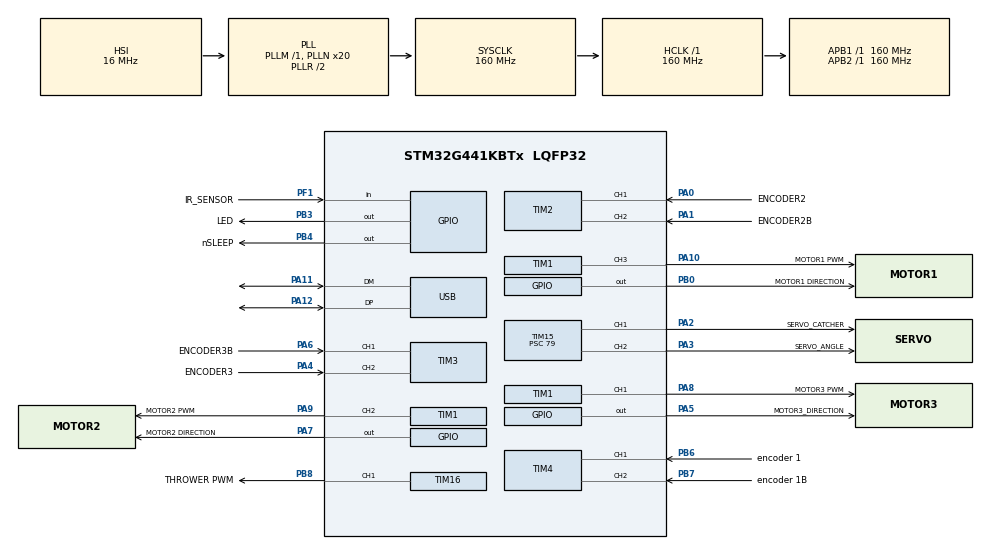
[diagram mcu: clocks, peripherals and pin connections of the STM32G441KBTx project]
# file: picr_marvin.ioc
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Mcu.Family=STM32G4
Mcu.Name=STM32G441KBTx
Mcu.Package=LQFP32
NVIC.PriorityGroup=NVIC_PRIORITYGROUP_4
NVIC.TIM7_IRQn=true\:0\:0\:false\:false\:true\:true\:true\:true
NVIC.USB_LP_IRQn=true\:0\:0\:false\:false\:true\:false\:true\:true
PA0.GPIO_Label=ENCODER2
PA0.GPIO_ModeDefaultPP=GPIO_MODE_AF_PP
PA0.GPIO_PuPd=GPIO_NOPULL
PA0.GPIO_Speed=GPIO_SPEED_FREQ_LOW
PA0.Signal=S_TIM2_CH1
PA1.GPIO_Label=ENCODER2B
PA1.GPIO_ModeDefaultPP=GPIO_MODE_AF_PP
PA1.GPIO_PuPd=GPIO_NOPULL
PA1.GPIO_Speed=GPIO_SPEED_FREQ_LOW
PA1.Signal=S_TIM2_CH2
PA10.GPIO_Label=MOTOR1 PWM
PA10.Signal=S_TIM1_CH3
PA11.Mode=Device
PA11.Signal=USB_DM
PA12.Mode=Device
PA12.Signal=USB_DP
PA13.Mode=Serial_Wire
PA13.Signal=SYS_JTMS-SWDIO
PA14.Mode=Serial_Wire
PA14.Signal=SYS_JTCK-SWCLK
PA2.GPIO_Label=SERVO_CATCHER
PA2.Signal=S_TIM15_CH1
PA3.GPIO_Label=SERVO_ANGLE
PA3.Signal=S_TIM15_CH2
PA4.GPIO_Label=ENCODER3
PA4.Signal=S_TIM3_CH2
PA5.GPIO_Label=MOTOR3_DIRECTION
PA5.Signal=GPIO_Output
PA6.GPIO_Label=ENCODER3B
PA6.Signal=S_TIM3_CH1
PA7.GPIO_Label=MOTOR2 DIRECTION
PA7.Signal=GPIO_Output
PA8.GPIO_Label=MOTOR3 PWM
PA8.Signal=S_TIM1_CH1
PA9.GPIO_Label=MOTOR2 PWM
PA9.Signal=S_TIM1_CH2
PB0.GPIO_Label=MOTOR1 DIRECTION
PB0.Signal=GPIO_Output
PB3.GPIO_Label=LED
PB3.Signal=GPIO_Output
PB4.GPIO_Label=nSLEEP
PB4.Signal=GPIO_Output
PB6.GPIO_Label=encoder 1
PB6.Signal=S_TIM4_CH1
PB7.GPIO_Label=encoder 1B
PB7.Signal=S_TIM4_CH2
PB8-BOOT0.GPIO_Label=THROWER PWM
PB8-BOOT0.Signal=S_TIM16_CH1
PF1-OSC_OUT.GPIO_Label=IR_SENSOR
PF1-OSC_OUT.Signal=GPIO_Input
ProjectManager.HeapSize=0x200
ProjectManager.StackSize=0x400
ProjectManager.TargetToolchain=STM32CubeIDE
RCC.ADC12Freq_Value=160000000
RCC.AHBFreq_Value=160000000
RCC.APB1Freq_Value=160000000
RCC.APB1TimFreq_Value=160000000
RCC.APB2Freq_Value=160000000
RCC.APB2TimFreq_Value=160000000
RCC.CK48CLockSelection=RCC_USBCLKSOURCE_HSI48
RCC.CortexFreq_Value=160000000
RCC.EXTERNAL_CLOCK_VALUE=12288000
RCC.HCLKFreq_Value=160000000
RCC.HSE_VALUE=8000000
RCC.HSI48_VALUE=48000000
RCC.HSI_VALUE=16000000
RCC.LSE_VALUE=32768
RCC.PLLN=20
RCC.PLLQ=RCC_PLLQ_DIV4
RCC.SYSCLKFreq_VALUE=160000000
RCC.SYSCLKSource=RCC_SYSCLKSOURCE_PLLCLK
RCC.USBFreq_Value=48000000
RCC.VCOOutputFreq_Value=320000000
SH.S_TIM15_CH1.0=TIM15_CH1,PWM Generation1 CH1
SH.S_TIM15_CH2.0=TIM15_CH2,PWM Generation2 CH2
SH.S_TIM16_CH1.0=TIM16_CH1,PWM Generation1 CH1
SH.S_TIM1_CH1.0=TIM1_CH1,PWM Generation1 CH1
SH.S_TIM1_CH2.0=TIM1_CH2,PWM Generation2 CH2
SH.S_TIM1_CH3.0=TIM1_CH3,PWM Generation3 CH3
SH.S_TIM2_CH1.0=TIM2_CH1,Encoder_Interface
SH.S_TIM2_CH2.0=TIM2_CH2,Encoder_Interface
SH.S_TIM3_CH1.0=TIM3_CH1,Encoder_Interface
SH.S_TIM3_CH2.0=TIM3_CH2,Encoder_Interface
SH.S_TIM4_CH1.0=TIM4_CH1,Encoder_Interface
SH.S_TIM4_CH2.0=TIM4_CH2,Encoder_Interface
TIM1.Channel-PWM\ Generation1\ CH1=TIM_CHANNEL_1
TIM1.Channel-PWM\ Generation2\ CH2=TIM_CHANNEL_2
TIM1.Channel-PWM\ Generation3\ CH3=TIM_CHANNEL_3
TIM15.Channel-PWM\ Generation1\ CH1=TIM_CHANNEL_1
TIM15.Channel-PWM\ Generation2\ CH2=TIM_CHANNEL_2
TIM15.PeriodNoDither=7999
TIM15.Prescaler=79
TIM16.Channel=TIM_CHANNEL_1
TIM16.PeriodNoDither=39999
TIM16.Prescaler=79
TIM17.Channel=TIM_CHANNEL_1
TIM2.EncoderMode=TIM_ENCODERMODE_TI12
TIM3.EncoderMode=TIM_ENCODERMODE_TI12
TIM4.EncoderMode=TIM_ENCODERMODE_TI12
TIM7.PeriodNoDither=15999
TIM7.Prescaler=99
USB_DEVICE.CLASS_NAME_FS=CDC
USB_DEVICE.VirtualMode=Cdc
USB_DEVICE.VirtualModeFS=Cdc_FS
VP_SYS_VS_DBSignals.Mode=DisableDeadBatterySignals
VP_TIM16_VS_ClockSourceINT.Mode=Enable_Timer
VP_TIM17_VS_ClockSourceINT.Mode=Enable_Timer
VP_TIM7_VS_ClockSourceINT.Mode=Enable_Timer
VP_USB_DEVICE_VS_USB_DEVICE_CDC_FS.Mode=CDC_FS
board=custom

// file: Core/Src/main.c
/* USER CODE BEGIN Header */
/**
  ******************************************************************************
  * @file           : main.c
  * @brief          : Main program body
  ******************************************************************************
  * @attention
  *
  * Copyright (c) 2024 STMicroelectronics.
  * All rights reserved.
  *
  * This software is licensed under terms that can be found in the LICENSE file
  * in the root directory of this software component.
  * If no LICENSE file comes with this software, it is provided AS-IS.
  *
  ******************************************************************************
  */
/* USER CODE END Header */
#include "main.h"
#include "usb_device.h"

/* USER CODE BEGIN Includes */
#include "usbd_cdc_if.h"

/* USER CODE END Includes */

TIM_HandleTypeDef htim1;
TIM_HandleTypeDef htim2;
TIM_HandleTypeDef htim3;
TIM_HandleTypeDef htim4;
TIM_HandleTypeDef htim7;
TIM_HandleTypeDef htim15;
TIM_HandleTypeDef htim16;
TIM_HandleTypeDef htim17;

void SystemClock_Config(void);
static void MX_GPIO_Init(void);
static void MX_TIM1_Init(void);
static void MX_TIM2_Init(void);
static void MX_TIM3_Init(void);
static void MX_TIM4_Init(void);
static void MX_TIM15_Init(void);
static void MX_TIM17_Init(void);
static void MX_TIM16_Init(void);
static void MX_TIM7_Init(void);

/* USER CODE BEGIN 0 */
typedef struct __attribute__((packed)) Command {
  int16_t speed1;
  int16_t speed2;
  int16_t speed3;
  uint16_t servo_angle;
  uint16_t servo_catcher;
  uint16_t throwerSpeed;
  uint8_t disableFailsafe;  // 1 to disable failsafe, anything else to enable
  uint16_t delimiter;
} Command;

typedef struct Feedback {
  int16_t speed1;
  int16_t speed2;
  int16_t speed3;
  uint16_t ballDetected;
  uint16_t delimiter;
} Feedback;

typedef struct Motor{
  uint16_t speed;
  uint16_t position;
  uint16_t positionChange;
  int32_t integral;
  int32_t gainP;
  int32_t gainI;
} Motor;

Motor motor1 = {.speed = 0, .position = 0, .positionChange = 0, .integral = 0, .gainP = 2000, .gainI = 50};
Motor motor2 = {.speed = 0, .position = 0, .positionChange = 0, .integral = 0, .gainP = 2000, .gainI = 50};
Motor motor3 = {.speed = 0, .position = 0, .positionChange = 0, .integral = 0, .gainP = 2000, .gainI = 50};

Command command = {
	.speed1 = 0,
	.speed2 = 0,
	.speed3 = 0,
	.servo_angle = 0,
	.servo_catcher = 0,
	.throwerSpeed = 0,
	.disableFailsafe = 0,
	.delimiter = 0
};

volatile uint8_t isCommandReceived = 0;
volatile uint32_t failsafeCounter = 0;
const uint32_t failsafeCounterLimit = 50;

// Have to add things here

void CDC_On_Receive(uint8_t* buffer, uint32_t* length) {
  if (*length == sizeof(Command)) {
    memcpy(&command, buffer, sizeof(Command));

    if (command.delimiter == 0xAAAA) {
      isCommandReceived = 1;
    }
  }
}

int32_t clamp(int32_t val, int32_t min, int32_t max) {
	  if (val < min) return min;
	  if (val > max) return max;
	  return val;
}

int32_t PI_function(Motor* motor, int16_t position) {
    motor->positionChange = position - motor->position;
    int16_t error = motor->speed - motor->positionChange;

    motor->integral += error * motor->gainI;

    motor->integral = clamp(motor->integral, -65535, 65535);

    motor->position = position;
    return motor->gainP * error + motor->integral;
}

void nSleep_pin_toggle(){

    HAL_GPIO_WritePin(nSLEEP_GPIO_Port, nSLEEP_Pin, 0);
    for (int i = 0; i < 400; i++) {
        __NOP();
    }
    HAL_GPIO_WritePin(nSLEEP_GPIO_Port, nSLEEP_Pin, 1);
}
//tim7 callback
void HAL_TIM_PeriodElapsedCallback(TIM_HandleTypeDef *htim7){
	failsafeCounter++;

	int16_t timer1 = (int16_t)TIM4->CNT;
	int16_t timer2 = (int16_t)TIM2->CNT;
	int16_t timer3 = (int16_t)TIM3->CNT;

	int32_t M1_PWM = PI_function(&motor1, -timer1);
	int32_t M2_PWM = PI_function(&motor2, -timer2);
	int32_t M3_PWM = PI_function(&motor3, timer3);

	//Mootor1
	if (M1_PWM < 0) {
	    HAL_GPIO_WritePin(MOTOR1_DIRECTION_GPIO_Port, MOTOR1_DIRECTION_Pin, GPIO_PIN_SET);
	    M1_PWM *= -1;
	} else {
	    HAL_GPIO_WritePin(MOTOR1_DIRECTION_GPIO_Port, MOTOR1_DIRECTION_Pin, GPIO_PIN_RESET);
	}
	TIM1->CCR3 = (uint32_t)clamp(M1_PWM, 0, 65535);

	//Mootor2

	if (M2_PWM < 0) {
	    HAL_GPIO_WritePin(MOTOR2_DIRECTION_GPIO_Port, MOTOR2_DIRECTION_Pin, GPIO_PIN_SET);
	    M2_PWM *= -1;
	} else {
	    HAL_GPIO_WritePin(MOTOR2_DIRECTION_GPIO_Port, MOTOR2_DIRECTION_Pin, GPIO_PIN_RESET);
	}
	TIM1->CCR2 = (uint32_t)clamp(M2_PWM, 0, 65535);

	//Mootor3
	if (M3_PWM < 0) {
	    HAL_GPIO_WritePin(MOTOR3_DIRECTION_GPIO_Port, MOTOR3_DIRECTION_Pin, GPIO_PIN_SET);
	    M3_PWM *= -1;
	} else {
	    HAL_GPIO_WritePin(MOTOR3_DIRECTION_GPIO_Port, MOTOR3_DIRECTION_Pin, GPIO_PIN_RESET);
	}

	TIM1->CCR1 = (uint32_t)clamp(M3_PWM, 0, 65535);
}
//t
/* USER CODE END 0 */

int main(void)
{

  /* MCU Configuration--------------------------------------------------------*/

  /* Reset of all peripherals, Initializes the Flash interface and the Systick. */
  HAL_Init();

  /* Configure the system clock */
  SystemClock_Config();

  /* Initialize all configured peripherals */
  MX_GPIO_Init();
  MX_TIM1_Init();
  MX_TIM2_Init();
  MX_TIM3_Init();
  MX_TIM4_Init();
  MX_TIM15_Init();
  MX_TIM17_Init();
  MX_TIM16_Init();
  MX_TIM7_Init();
  MX_USB_Device_Init();
  /* USER CODE BEGIN 2 */
  Feedback feedback = {
        .speed1 = 0,
        .speed2 = 0,
        .speed3 = 0,
		.ballDetected = 0,
        .delimiter = 0xAAAA
    };

  HAL_TIM_Encoder_Start(&htim4, TIM_CHANNEL_1 | TIM_CHANNEL_2); //Motor 1 encoder
  HAL_TIM_Encoder_Start(&htim2, TIM_CHANNEL_1 | TIM_CHANNEL_2); //Motor 2 encoder
  HAL_TIM_Encoder_Start(&htim3, TIM_CHANNEL_1 | TIM_CHANNEL_2); //Motor 3 encoder

  HAL_TIM_PWM_Start(&htim1, TIM_CHANNEL_3); // Motor 1 PWM
  HAL_TIM_PWM_Start(&htim1, TIM_CHANNEL_2); // Motor 2 PWM
  HAL_TIM_PWM_Start(&htim1, TIM_CHANNEL_1); // Motor 3 PWM

  HAL_TIM_PWM_Start(&htim15, TIM_CHANNEL_2); // Servo_angle
  HAL_TIM_PWM_Start(&htim15, TIM_CHANNEL_1); // Servo_catcher
  HAL_TIM_PWM_Start(&htim16, TIM_CHANNEL_1); // Thrower

  HAL_TIM_Base_Start_IT(&htim7);

  HAL_GPIO_WritePin(nSLEEP_GPIO_Port, nSLEEP_Pin, 1);
  TIM16->CCR1 = 1900;

  /* USER CODE END 2 */

  /* Infinite loop */
  while (1)
  {

    /* USER CODE BEGIN 3 */
	  if (isCommandReceived) {
		  isCommandReceived = 0;
		  failsafeCounter = 0;
		  nSleep_pin_toggle();

		  HAL_GPIO_TogglePin(LED_GPIO_Port, LED_Pin);

		  motor1.speed = command.speed1;
		  motor2.speed = command.speed2;
		  motor3.speed = command.speed3;

		  feedback.speed1 = motor1.positionChange;
		  feedback.speed2 = motor2.positionChange;
		  feedback.speed3 = motor3.positionChange;

		  TIM15->CCR1 = clamp(command.servo_angle, 0, 39999);
		  TIM15->CCR2 = clamp(command.servo_catcher, 0, 39999);
		  TIM16->CCR1 = command.throwerSpeed;

		  feedback.ballDetected = HAL_GPIO_ReadPin(IR_SENSOR_GPIO_Port, IR_SENSOR_Pin) == GPIO_PIN_SET ? 1 : 0;

		  CDC_Transmit_FS((uint8_t*)&feedback, sizeof(feedback));
	  }

	  if (command.disableFailsafe != 1 && (failsafeCounter >= failsafeCounterLimit)) {
		  motor1.speed = 0;
		  motor2.speed = 0;
		  motor3.speed = 0;
		  TIM16->CCR1 = 1900;
	  }
  }
  /* USER CODE END 3 */
}

void SystemClock_Config(void)
{
  RCC_OscInitTypeDef RCC_OscInitStruct = {0};
  RCC_ClkInitTypeDef RCC_ClkInitStruct = {0};

  /** Configure the main internal regulator output voltage
  */
  HAL_PWREx_ControlVoltageScaling(PWR_REGULATOR_VOLTAGE_SCALE1_BOOST);

  /** Initializes the RCC Oscillators according to the specified parameters
  * in the RCC_OscInitTypeDef structure.
  */
  RCC_OscInitStruct.OscillatorType = RCC_OSCILLATORTYPE_HSI|RCC_OSCILLATORTYPE_HSI48;
  RCC_OscInitStruct.HSIState = RCC_HSI_ON;
  RCC_OscInitStruct.HSICalibrationValue = RCC_HSICALIBRATION_DEFAULT;
  RCC_OscInitStruct.HSI48State = RCC_HSI48_ON;
  RCC_OscInitStruct.PLL.PLLState = RCC_PLL_ON;
  RCC_OscInitStruct.PLL.PLLSource = RCC_PLLSOURCE_HSI;
  RCC_OscInitStruct.PLL.PLLM = RCC_PLLM_DIV1;
  RCC_OscInitStruct.PLL.PLLN = 20;
  RCC_OscInitStruct.PLL.PLLP = RCC_PLLP_DIV2;
  RCC_OscInitStruct.PLL.PLLQ = RCC_PLLQ_DIV4;
  RCC_OscInitStruct.PLL.PLLR = RCC_PLLR_DIV2;
  if (HAL_RCC_OscConfig(&RCC_OscInitStruct) != HAL_OK)
  {
    Error_Handler();
  }

  /** Initializes the CPU, AHB and APB buses clocks
  */
  RCC_ClkInitStruct.ClockType = RCC_CLOCKTYPE_HCLK|RCC_CLOCKTYPE_SYSCLK
                              |RCC_CLOCKTYPE_PCLK1|RCC_CLOCKTYPE_PCLK2;
  RCC_ClkInitStruct.SYSCLKSource = RCC_SYSCLKSOURCE_PLLCLK;
  RCC_ClkInitStruct.AHBCLKDivider = RCC_SYSCLK_DIV1;
  RCC_ClkInitStruct.APB1CLKDivider = RCC_HCLK_DIV1;
  RCC_ClkInitStruct.APB2CLKDivider = RCC_HCLK_DIV1;

  if (HAL_RCC_ClockConfig(&RCC_ClkInitStruct, FLASH_LATENCY_4) != HAL_OK)
  {
    Error_Handler();
  }
}

static void MX_TIM1_Init(void)
{

  TIM_MasterConfigTypeDef sMasterConfig = {0};
  TIM_OC_InitTypeDef sConfigOC = {0};
  TIM_BreakDeadTimeConfigTypeDef sBreakDeadTimeConfig = {0};

  htim1.Instance = TIM1;
  htim1.Init.Prescaler = 0;
  htim1.Init.CounterMode = TIM_COUNTERMODE_UP;
  htim1.Init.Period = 65535;
  htim1.Init.ClockDivision = TIM_CLOCKDIVISION_DIV1;
  htim1.Init.RepetitionCounter = 0;
  htim1.Init.AutoReloadPreload = TIM_AUTORELOAD_PRELOAD_DISABLE;
  if (HAL_TIM_PWM_Init(&htim1) != HAL_OK)
  {
    Error_Handler();
  }
  sMasterConfig.MasterOutputTrigger = TIM_TRGO_RESET;
  sMasterConfig.MasterOutputTrigger2 = TIM_TRGO2_RESET;
  sMasterConfig.MasterSlaveMode = TIM_MASTERSLAVEMODE_DISABLE;
  if (HAL_TIMEx_MasterConfigSynchronization(&htim1, &sMasterConfig) != HAL_OK)
  {
    Error_Handler();
  }
  sConfigOC.OCMode = TIM_OCMODE_PWM1;
  sConfigOC.Pulse = 0;
  sConfigOC.OCPolarity = TIM_OCPOLARITY_HIGH;
  sConfigOC.OCNPolarity = TIM_OCNPOLARITY_HIGH;
  sConfigOC.OCFastMode = TIM_OCFAST_DISABLE;
  sConfigOC.OCIdleState = TIM_OCIDLESTATE_RESET;
  sConfigOC.OCNIdleState = TIM_OCNIDLESTATE_RESET;
  if (HAL_TIM_PWM_ConfigChannel(&htim1, &sConfigOC, TIM_CHANNEL_1) != HAL_OK)
  {
    Error_Handler();
  }
  if (HAL_TIM_PWM_ConfigChannel(&htim1, &sConfigOC, TIM_CHANNEL_2) != HAL_OK)
  {
    Error_Handler();
  }
  if (HAL_TIM_PWM_ConfigChannel(&htim1, &sConfigOC, TIM_CHANNEL_3) != HAL_OK)
  {
    Error_Handler();
  }
  sBreakDeadTimeConfig.OffStateRunMode = TIM_OSSR_DISABLE;
  sBreakDeadTimeConfig.OffStateIDLEMode = TIM_OSSI_DISABLE;
  sBreakDeadTimeConfig.LockLevel = TIM_LOCKLEVEL_OFF;
  sBreakDeadTimeConfig.DeadTime = 0;
  sBreakDeadTimeConfig.BreakState = TIM_BREAK_DISABLE;
  sBreakDeadTimeConfig.BreakPolarity = TIM_BREAKPOLARITY_HIGH;
  sBreakDeadTimeConfig.BreakFilter = 0;
  sBreakDeadTimeConfig.BreakAFMode = TIM_BREAK_AFMODE_INPUT;
  sBreakDeadTimeConfig.Break2State = TIM_BREAK2_DISABLE;
  sBreakDeadTimeConfig.Break2Polarity = TIM_BREAK2POLARITY_HIGH;
  sBreakDeadTimeConfig.Break2Filter = 0;
  sBreakDeadTimeConfig.Break2AFMode = TIM_BREAK_AFMODE_INPUT;
  sBreakDeadTimeConfig.AutomaticOutput = TIM_AUTOMATICOUTPUT_DISABLE;
  if (HAL_TIMEx_ConfigBreakDeadTime(&htim1, &sBreakDeadTimeConfig) != HAL_OK)
  {
    Error_Handler();
  }
  HAL_TIM_MspPostInit(&htim1);

}

static void MX_TIM2_Init(void)
{

  TIM_Encoder_InitTypeDef sConfig = {0};
  TIM_MasterConfigTypeDef sMasterConfig = {0};

  htim2.Instance = TIM2;
  htim2.Init.Prescaler = 0;
  htim2.Init.CounterMode = TIM_COUNTERMODE_UP;
  htim2.Init.Period = 4294967295;
  htim2.Init.ClockDivision = TIM_CLOCKDIVISION_DIV1;
  htim2.Init.AutoReloadPreload = TIM_AUTORELOAD_PRELOAD_DISABLE;
  sConfig.EncoderMode = TIM_ENCODERMODE_TI12;
  sConfig.IC1Polarity = TIM_ICPOLARITY_RISING;
  sConfig.IC1Selection = TIM_ICSELECTION_DIRECTTI;
  sConfig.IC1Prescaler = TIM_ICPSC_DIV1;
  sConfig.IC1Filter = 0;
  sConfig.IC2Polarity = TIM_ICPOLARITY_RISING;
  sConfig.IC2Selection = TIM_ICSELECTION_DIRECTTI;
  sConfig.IC2Prescaler = TIM_ICPSC_DIV1;
  sConfig.IC2Filter = 0;
  if (HAL_TIM_Encoder_Init(&htim2, &sConfig) != HAL_OK)
  {
    Error_Handler();
  }
  sMasterConfig.MasterOutputTrigger = TIM_TRGO_RESET;
  sMasterConfig.MasterSlaveMode = TIM_MASTERSLAVEMODE_DISABLE;
  if (HAL_TIMEx_MasterConfigSynchronization(&htim2, &sMasterConfig) != HAL_OK)
  {
    Error_Handler();
  }

}

static void MX_TIM3_Init(void)
{

  TIM_Encoder_InitTypeDef sConfig = {0};
  TIM_MasterConfigTypeDef sMasterConfig = {0};

  htim3.Instance = TIM3;
  htim3.Init.Prescaler = 0;
  htim3.Init.CounterMode = TIM_COUNTERMODE_UP;
  htim3.Init.Period = 65535;
  htim3.Init.ClockDivision = TIM_CLOCKDIVISION_DIV1;
  htim3.Init.AutoReloadPreload = TIM_AUTORELOAD_PRELOAD_DISABLE;
  sConfig.EncoderMode = TIM_ENCODERMODE_TI12;
  sConfig.IC1Polarity = TIM_ICPOLARITY_RISING;
  sConfig.IC1Selection = TIM_ICSELECTION_DIRECTTI;
  sConfig.IC1Prescaler = TIM_ICPSC_DIV1;
  sConfig.IC1Filter = 0;
  sConfig.IC2Polarity = TIM_ICPOLARITY_RISING;
  sConfig.IC2Selection = TIM_ICSELECTION_DIRECTTI;
  sConfig.IC2Prescaler = TIM_ICPSC_DIV1;
  sConfig.IC2Filter = 0;
  if (HAL_TIM_Encoder_Init(&htim3, &sConfig) != HAL_OK)
  {
    Error_Handler();
  }
  sMasterConfig.MasterOutputTrigger = TIM_TRGO_RESET;
  sMasterConfig.MasterSlaveMode = TIM_MASTERSLAVEMODE_DISABLE;
  if (HAL_TIMEx_MasterConfigSynchronization(&htim3, &sMasterConfig) != HAL_OK)
  {
    Error_Handler();
  }

}

static void MX_TIM4_Init(void)
{

  TIM_Encoder_InitTypeDef sConfig = {0};
  TIM_MasterConfigTypeDef sMasterConfig = {0};

  htim4.Instance = TIM4;
  htim4.Init.Prescaler = 0;
  htim4.Init.CounterMode = TIM_COUNTERMODE_UP;
  htim4.Init.Period = 65535;
  htim4.Init.ClockDivision = TIM_CLOCKDIVISION_DIV1;
  htim4.Init.AutoReloadPreload = TIM_AUTORELOAD_PRELOAD_DISABLE;
  sConfig.EncoderMode = TIM_ENCODERMODE_TI12;
  sConfig.IC1Polarity = TIM_ICPOLARITY_RISING;
  sConfig.IC1Selection = TIM_ICSELECTION_DIRECTTI;
  sConfig.IC1Prescaler = TIM_ICPSC_DIV1;
  sConfig.IC1Filter = 0;
  sConfig.IC2Polarity = TIM_ICPOLARITY_RISING;
  sConfig.IC2Selection = TIM_ICSELECTION_DIRECTTI;
  sConfig.IC2Prescaler = TIM_ICPSC_DIV1;
  sConfig.IC2Filter = 0;
  if (HAL_TIM_Encoder_Init(&htim4, &sConfig) != HAL_OK)
  {
    Error_Handler();
  }
  sMasterConfig.MasterOutputTrigger = TIM_TRGO_RESET;
  sMasterConfig.MasterSlaveMode = TIM_MASTERSLAVEMODE_DISABLE;
  if (HAL_TIMEx_MasterConfigSynchronization(&htim4, &sMasterConfig) != HAL_OK)
  {
    Error_Handler();
  }

}

static void MX_TIM7_Init(void)
{

  TIM_MasterConfigTypeDef sMasterConfig = {0};

  htim7.Instance = TIM7;
  htim7.Init.Prescaler = 99;
  htim7.Init.CounterMode = TIM_COUNTERMODE_UP;
  htim7.Init.Period = 15999;
  htim7.Init.AutoReloadPreload = TIM_AUTORELOAD_PRELOAD_DISABLE;
  if (HAL_TIM_Base_Init(&htim7) != HAL_OK)
  {
    Error_Handler();
  }
  sMasterConfig.MasterOutputTrigger = TIM_TRGO_RESET;
  sMasterConfig.MasterSlaveMode = TIM_MASTERSLAVEMODE_DISABLE;
  if (HAL_TIMEx_MasterConfigSynchronization(&htim7, &sMasterConfig) != HAL_OK)
  {
    Error_Handler();
  }

}

static void MX_TIM15_Init(void)
{

  TIM_MasterConfigTypeDef sMasterConfig = {0};
  TIM_OC_InitTypeDef sConfigOC = {0};
  TIM_BreakDeadTimeConfigTypeDef sBreakDeadTimeConfig = {0};

  htim15.Instance = TIM15;
  htim15.Init.Prescaler = 79;
  htim15.Init.CounterMode = TIM_COUNTERMODE_UP;
  htim15.Init.Period = 7999;
  htim15.Init.ClockDivision = TIM_CLOCKDIVISION_DIV1;
  htim15.Init.RepetitionCounter = 0;
  htim15.Init.AutoReloadPreload = TIM_AUTORELOAD_PRELOAD_DISABLE;
  if (HAL_TIM_PWM_Init(&htim15) != HAL_OK)
  {
    Error_Handler();
  }
  sMasterConfig.MasterOutputTrigger = TIM_TRGO_RESET;
  sMasterConfig.MasterSlaveMode = TIM_MASTERSLAVEMODE_DISABLE;
  if (HAL_TIMEx_MasterConfigSynchronization(&htim15, &sMasterConfig) != HAL_OK)
  {
    Error_Handler();
  }
  sConfigOC.OCMode = TIM_OCMODE_PWM1;
  sConfigOC.Pulse = 0;
  sConfigOC.OCPolarity = TIM_OCPOLARITY_HIGH;
  sConfigOC.OCNPolarity = TIM_OCNPOLARITY_HIGH;
  sConfigOC.OCFastMode = TIM_OCFAST_DISABLE;
  sConfigOC.OCIdleState = TIM_OCIDLESTATE_RESET;
  sConfigOC.OCNIdleState = TIM_OCNIDLESTATE_RESET;
  if (HAL_TIM_PWM_ConfigChannel(&htim15, &sConfigOC, TIM_CHANNEL_1) != HAL_OK)
  {
    Error_Handler();
  }
  if (HAL_TIM_PWM_ConfigChannel(&htim15, &sConfigOC, TIM_CHANNEL_2) != HAL_OK)
  {
    Error_Handler();
  }
  sBreakDeadTimeConfig.OffStateRunMode = TIM_OSSR_DISABLE;
  sBreakDeadTimeConfig.OffStateIDLEMode = TIM_OSSI_DISABLE;
  sBreakDeadTimeConfig.LockLevel = TIM_LOCKLEVEL_OFF;
  sBreakDeadTimeConfig.DeadTime = 0;
  sBreakDeadTimeConfig.BreakState = TIM_BREAK_DISABLE;
  sBreakDeadTimeConfig.BreakPolarity = TIM_BREAKPOLARITY_HIGH;
  sBreakDeadTimeConfig.BreakFilter = 0;
  sBreakDeadTimeConfig.AutomaticOutput = TIM_AUTOMATICOUTPUT_DISABLE;
  if (HAL_TIMEx_ConfigBreakDeadTime(&htim15, &sBreakDeadTimeConfig) != HAL_OK)
  {
    Error_Handler();
  }
  HAL_TIM_MspPostInit(&htim15);

}

static void MX_TIM16_Init(void)
{

  TIM_OC_InitTypeDef sConfigOC = {0};
  TIM_BreakDeadTimeConfigTypeDef sBreakDeadTimeConfig = {0};

  htim16.Instance = TIM16;
  htim16.Init.Prescaler = 79;
  htim16.Init.CounterMode = TIM_COUNTERMODE_UP;
  htim16.Init.Period = 39999;
  htim16.Init.ClockDivision = TIM_CLOCKDIVISION_DIV1;
  htim16.Init.RepetitionCounter = 0;
  htim16.Init.AutoReloadPreload = TIM_AUTORELOAD_PRELOAD_DISABLE;
  if (HAL_TIM_Base_Init(&htim16) != HAL_OK)
  {
    Error_Handler();
  }
  if (HAL_TIM_PWM_Init(&htim16) != HAL_OK)
  {
    Error_Handler();
  }
  sConfigOC.OCMode = TIM_OCMODE_PWM1;
  sConfigOC.Pulse = 0;
  sConfigOC.OCPolarity = TIM_OCPOLARITY_HIGH;
  sConfigOC.OCNPolarity = TIM_OCNPOLARITY_HIGH;
  sConfigOC.OCFastMode = TIM_OCFAST_DISABLE;
  sConfigOC.OCIdleState = TIM_OCIDLESTATE_RESET;
  sConfigOC.OCNIdleState = TIM_OCNIDLESTATE_RESET;
  if (HAL_TIM_PWM_ConfigChannel(&htim16, &sConfigOC, TIM_CHANNEL_1) != HAL_OK)
  {
    Error_Handler();
  }
  sBreakDeadTimeConfig.OffStateRunMode = TIM_OSSR_DISABLE;
  sBreakDeadTimeConfig.OffStateIDLEMode = TIM_OSSI_DISABLE;
  sBreakDeadTimeConfig.LockLevel = TIM_LOCKLEVEL_OFF;
  sBreakDeadTimeConfig.DeadTime = 0;
  sBreakDeadTimeConfig.BreakState = TIM_BREAK_DISABLE;
  sBreakDeadTimeConfig.BreakPolarity = TIM_BREAKPOLARITY_HIGH;
  sBreakDeadTimeConfig.BreakFilter = 0;
  sBreakDeadTimeConfig.AutomaticOutput = TIM_AUTOMATICOUTPUT_DISABLE;
  if (HAL_TIMEx_ConfigBreakDeadTime(&htim16, &sBreakDeadTimeConfig) != HAL_OK)
  {
    Error_Handler();
  }
  HAL_TIM_MspPostInit(&htim16);

}

static void MX_TIM17_Init(void)
{

  htim17.Instance = TIM17;
  htim17.Init.Prescaler = 0;
  htim17.Init.CounterMode = TIM_COUNTERMODE_UP;
  htim17.Init.Period = 65535;
  htim17.Init.ClockDivision = TIM_CLOCKDIVISION_DIV1;
  htim17.Init.RepetitionCounter = 0;
  htim17.Init.AutoReloadPreload = TIM_AUTORELOAD_PRELOAD_DISABLE;
  if (HAL_TIM_Base_Init(&htim17) != HAL_OK)
  {
    Error_Handler();
  }

}

static void MX_GPIO_Init(void)
{
  GPIO_InitTypeDef GPIO_InitStruct = {0};

  /* GPIO Ports Clock Enable */
  __HAL_RCC_GPIOF_CLK_ENABLE();
  __HAL_RCC_GPIOA_CLK_ENABLE();
  __HAL_RCC_GPIOB_CLK_ENABLE();

  /*Configure GPIO pin Output Level */
  HAL_GPIO_WritePin(GPIOA, MOTOR3_DIRECTION_Pin|MOTOR2_DIRECTION_Pin, GPIO_PIN_RESET);

  /*Configure GPIO pin Output Level */
  HAL_GPIO_WritePin(GPIOB, MOTOR1_DIRECTION_Pin|LED_Pin|nSLEEP_Pin, GPIO_PIN_RESET);

  /*Configure GPIO pin : IR_SENSOR_Pin */
  GPIO_InitStruct.Pin = IR_SENSOR_Pin;
  GPIO_InitStruct.Mode = GPIO_MODE_INPUT;
  GPIO_InitStruct.Pull = GPIO_NOPULL;
  HAL_GPIO_Init(IR_SENSOR_GPIO_Port, &GPIO_InitStruct);

  /*Configure GPIO pins : MOTOR3_DIRECTION_Pin MOTOR2_DIRECTION_Pin */
  GPIO_InitStruct.Pin = MOTOR3_DIRECTION_Pin|MOTOR2_DIRECTION_Pin;
  GPIO_InitStruct.Mode = GPIO_MODE_OUTPUT_PP;
  GPIO_InitStruct.Pull = GPIO_NOPULL;
  GPIO_InitStruct.Speed = GPIO_SPEED_FREQ_LOW;
  HAL_GPIO_Init(GPIOA, &GPIO_InitStruct);

  /*Configure GPIO pins : MOTOR1_DIRECTION_Pin LED_Pin nSLEEP_Pin */
  GPIO_InitStruct.Pin = MOTOR1_DIRECTION_Pin|LED_Pin|nSLEEP_Pin;
  GPIO_InitStruct.Mode = GPIO_MODE_OUTPUT_PP;
  GPIO_InitStruct.Pull = GPIO_NOPULL;
  GPIO_InitStruct.Speed = GPIO_SPEED_FREQ_LOW;
  HAL_GPIO_Init(GPIOB, &GPIO_InitStruct);

}

void Error_Handler(void)
{
  __disable_irq();
  while (1)
  {
  }
}
